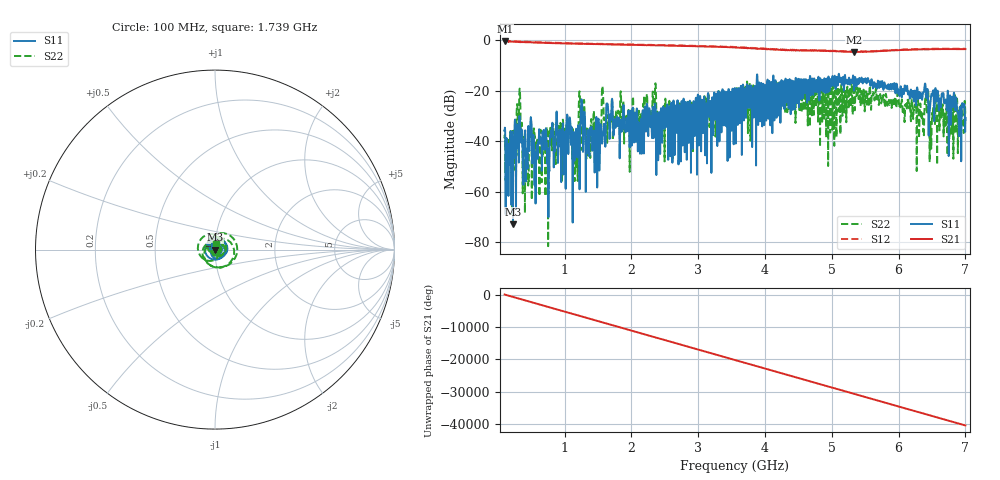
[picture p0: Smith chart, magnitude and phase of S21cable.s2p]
#  HZ  S  RI  R  50.00
! Rohde & Schwarz ZVA24 4Ports - Version 3.12 - 1145.1110k26 SN: 100162
! Date: 2018-06-04 05:56:18
! Measurements: S11 S21 S12 S22
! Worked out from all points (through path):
!   6900 points, 100 MHz to 7 GHz, reference 50 ohm
!   highest |S21| = -0.28 dB at 102 MHz (marker M1); lowest = -4.6 dB at 5.334 GHz (marker M2)
!   group delay of S21, straight-line fit = 16.3 ns
!   lowest |S11| = -72.8 dB at 226 MHz (marker M3), VSWR 1.00, Z = 50 - j0.0125 ohm
!   |S11| at or under -10 dB: start of sweep to end of sweep
!   |S22| runs from -81.5 to -15.7 dB; largest |S21 - S12| = 0.19
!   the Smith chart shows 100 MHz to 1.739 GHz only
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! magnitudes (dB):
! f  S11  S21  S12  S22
! 100 MHz  -35.8  -0.3  -0.1  -38.3
! 102 MHz  -35.5  -0.3  -0.1  -38.0
! 226 MHz  -72.8  -0.5  -0.3  -37.4
! 309 MHz  -40.0  -0.6  -0.4  -40.6
! 427 MHz  -43.1  -0.7  -0.6  -43.7
! 504.1 MHz  -33.3  -0.8  -0.6  -42.1
! 575.1 MHz  -44.9  -0.9  -0.7  -41.1
! 1.053 GHz  -45.0  -1.2  -1.1  -37.3
! 1.164 GHz  -38.6  -1.3  -1.2  -39.3
! 1.25 GHz  -23.3  -1.3  -1.2  -29.5
! 1.273 GHz  -43.7  -1.3  -1.2  -41.2
! 1.353 GHz  -43.1  -1.4  -1.3  -43.3
! 1.571 GHz  -37.1  -1.5  -1.4  -20.1
! 1.653 GHz  -29.1  -1.6  -1.4  -29.7
! 2.124 GHz  -40.2  -1.8  -1.7  -33.5
! 2.344 GHz  -29.4  -1.9  -1.8  -29.8
! 2.4 GHz  -46.4  -2.0  -1.8  -36.1
! 3.551 GHz  -20.4  -2.8  -2.6  -19.3
! 4.701 GHz  -15.6  -4.1  -3.9  -29.5
! 5.334 GHz  -19.7  -4.6  -4.4  -20.8
! 5.851 GHz  -17.7  -4.1  -3.9  -24.1
! 7 GHz  -30.7  -3.5  -3.3  -31.8
